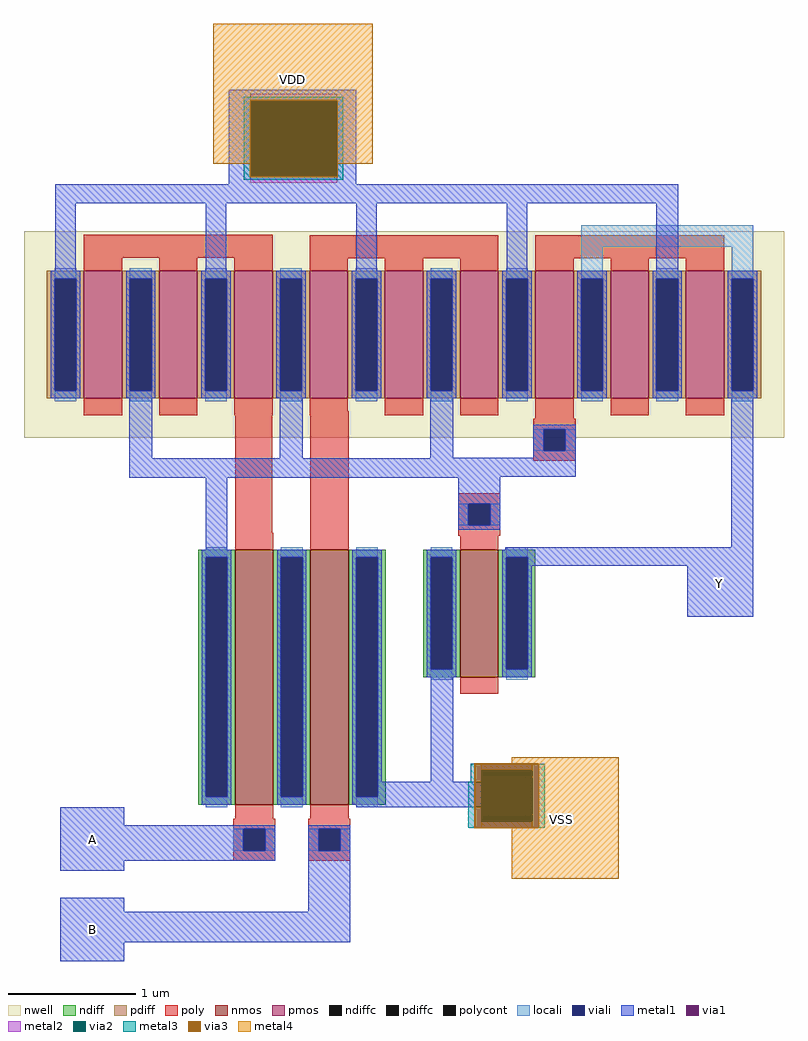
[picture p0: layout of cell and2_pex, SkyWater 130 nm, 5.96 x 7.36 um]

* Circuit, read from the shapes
.subckt and2_pex VSS A B VDD Y
XM1 n1 A n2 VSUBS sky130_fd_pr__nfet_01v8 w=2 l=0.3
XM2 VSS B n1 VSUBS sky130_fd_pr__nfet_01v8 w=2 l=0.3
XM3 Y n2 VSS VSUBS sky130_fd_pr__nfet_01v8 w=1 l=0.3
XM4 n2 A VDD n3 sky130_fd_pr__pfet_01v8 w=1 l=0.3 m=3
XM5 VDD B n2 n3 sky130_fd_pr__pfet_01v8 w=1 l=0.3 m=3
XM6 Y n2 VDD n3 sky130_fd_pr__pfet_01v8 w=1 l=0.3 m=3
.ends

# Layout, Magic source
magic
tech sky130B
magscale 1 2
<< nwell >>
rect 1 6 1193 330
<< nmos >>
rect 332 -569 392 -169
rect 450 -569 510 -169
rect 685 -369 745 -169
<< pmos >>
rect 95 68 155 268
rect 213 68 273 268
rect 331 68 391 268
rect 449 68 509 268
rect 567 68 627 268
rect 685 68 745 268
rect 803 68 863 268
rect 921 68 981 268
rect 1039 68 1099 268
<< ndiff >>
rect 274 -181 332 -169
rect 274 -557 286 -181
rect 320 -557 332 -181
rect 274 -569 332 -557
rect 392 -181 450 -169
rect 392 -557 404 -181
rect 438 -557 450 -181
rect 392 -569 450 -557
rect 510 -181 568 -169
rect 510 -557 522 -181
rect 556 -557 568 -181
rect 627 -181 685 -169
rect 627 -357 639 -181
rect 673 -357 685 -181
rect 627 -369 685 -357
rect 745 -181 803 -169
rect 745 -357 757 -181
rect 791 -357 803 -181
rect 745 -369 803 -357
rect 510 -569 568 -557
<< pdiff >>
rect 37 256 95 268
rect 37 80 49 256
rect 83 80 95 256
rect 37 68 95 80
rect 155 256 213 268
rect 155 80 167 256
rect 201 80 213 256
rect 155 68 213 80
rect 273 256 331 268
rect 273 80 285 256
rect 319 80 331 256
rect 273 68 331 80
rect 391 256 449 268
rect 391 80 403 256
rect 437 80 449 256
rect 391 68 449 80
rect 509 256 567 268
rect 509 80 521 256
rect 555 80 567 256
rect 509 68 567 80
rect 627 256 685 268
rect 627 80 639 256
rect 673 80 685 256
rect 627 68 685 80
rect 745 256 803 268
rect 745 80 757 256
rect 791 80 803 256
rect 745 68 803 80
rect 863 256 921 268
rect 863 80 875 256
rect 909 80 921 256
rect 863 68 921 80
rect 981 256 1039 268
rect 981 80 993 256
rect 1027 80 1039 256
rect 981 68 1039 80
rect 1099 256 1157 268
rect 1099 80 1111 256
rect 1145 80 1157 256
rect 1099 68 1157 80
<< ndiffc >>
rect 286 -557 320 -181
rect 404 -557 438 -181
rect 522 -557 556 -181
rect 639 -357 673 -181
rect 757 -357 791 -181
<< pdiffc >>
rect 49 80 83 256
rect 167 80 201 256
rect 285 80 319 256
rect 403 80 437 256
rect 521 80 555 256
rect 639 80 673 256
rect 757 80 791 256
rect 875 80 909 256
rect 993 80 1027 256
rect 1111 80 1145 256
<< poly >>
rect 95 289 391 325
rect 95 268 155 289
rect 213 268 273 289
rect 331 268 391 289
rect 449 288 745 324
rect 449 268 509 288
rect 567 268 627 288
rect 685 268 745 288
rect 803 288 1099 324
rect 803 268 863 288
rect 921 268 981 288
rect 1039 268 1099 288
rect 95 42 155 68
rect 213 42 273 68
rect 331 42 391 68
rect 449 48 509 68
rect 449 42 510 48
rect 567 42 627 68
rect 685 42 745 68
rect 332 -143 390 42
rect 332 -169 392 -143
rect 450 -169 510 42
rect 803 36 863 68
rect 921 42 981 68
rect 1039 42 1099 68
rect 800 20 866 36
rect 800 -14 816 20
rect 850 -14 866 20
rect 800 -30 866 -14
rect 682 -97 748 -81
rect 682 -131 698 -97
rect 732 -131 748 -97
rect 682 -147 748 -131
rect 685 -169 745 -147
rect 685 -395 745 -369
rect 332 -591 392 -569
rect 450 -591 510 -569
rect 329 -607 395 -591
rect 329 -641 345 -607
rect 379 -641 395 -607
rect 329 -657 395 -641
rect 447 -607 513 -591
rect 447 -641 463 -607
rect 497 -641 513 -607
rect 447 -657 513 -641
<< polycont >>
rect 816 -14 850 20
rect 698 -131 732 -97
rect 345 -641 379 -607
rect 463 -641 497 -607
<< locali >>
rect 875 306 1145 340
rect 49 256 83 272
rect 49 64 83 80
rect 167 256 201 272
rect 167 64 201 80
rect 285 256 319 272
rect 285 64 319 80
rect 403 256 437 272
rect 403 64 437 80
rect 521 256 555 272
rect 521 64 555 80
rect 639 256 673 272
rect 639 64 673 80
rect 757 256 791 272
rect 757 64 791 80
rect 875 256 909 306
rect 875 64 909 80
rect 993 256 1027 272
rect 993 64 1027 80
rect 1111 256 1145 306
rect 1111 64 1145 80
rect 800 -14 816 20
rect 850 -14 866 20
rect 682 -131 698 -97
rect 732 -131 748 -97
rect 286 -181 320 -165
rect 286 -573 320 -557
rect 404 -181 438 -165
rect 404 -573 438 -557
rect 522 -181 556 -165
rect 639 -181 673 -165
rect 639 -373 673 -357
rect 757 -181 791 -165
rect 757 -373 791 -357
rect 522 -573 556 -557
rect 329 -641 345 -607
rect 379 -641 395 -607
rect 447 -641 463 -607
rect 497 -641 513 -607
<< viali >>
rect 49 80 83 256
rect 167 80 201 256
rect 285 80 319 256
rect 403 80 437 256
rect 521 80 555 256
rect 639 80 673 256
rect 757 80 791 256
rect 875 80 909 256
rect 993 80 1027 256
rect 1111 80 1145 256
rect 816 -14 850 20
rect 698 -131 732 -97
rect 286 -557 320 -181
rect 404 -557 438 -181
rect 522 -557 556 -181
rect 639 -357 673 -181
rect 757 -357 791 -181
rect 345 -641 379 -607
rect 463 -641 497 -607
<< metal1 >>
rect 322 536 522 552
rect 322 416 356 536
rect 492 416 522 536
rect 322 404 522 416
rect 50 374 1027 404
rect 50 268 82 374
rect 286 268 318 374
rect 522 268 554 374
rect 758 268 790 374
rect 993 268 1027 374
rect 43 256 89 268
rect 43 80 49 256
rect 83 80 89 256
rect 43 68 89 80
rect 161 256 207 268
rect 161 80 167 256
rect 201 80 207 256
rect 161 68 207 80
rect 279 256 325 268
rect 279 80 285 256
rect 319 80 325 256
rect 279 68 325 80
rect 397 256 443 268
rect 397 80 403 256
rect 437 80 443 256
rect 397 68 443 80
rect 515 256 561 268
rect 515 80 521 256
rect 555 80 561 256
rect 515 68 561 80
rect 633 256 679 268
rect 633 80 639 256
rect 673 80 679 256
rect 633 68 679 80
rect 751 256 797 268
rect 751 80 757 256
rect 791 80 797 256
rect 751 68 797 80
rect 869 256 915 268
rect 869 80 875 256
rect 909 80 915 256
rect 869 68 915 80
rect 987 256 1033 268
rect 987 80 993 256
rect 1027 80 1033 256
rect 987 68 1033 80
rect 1105 256 1151 268
rect 1105 80 1111 256
rect 1145 80 1151 256
rect 1105 68 1151 80
rect 166 -26 202 68
rect 402 -26 438 68
rect 638 -25 674 68
rect 800 20 866 27
rect 800 -14 816 20
rect 850 -14 866 20
rect 800 -25 866 -14
rect 638 -26 866 -25
rect 166 -55 866 -26
rect 166 -56 748 -55
rect 286 -169 320 -56
rect 682 -97 748 -56
rect 682 -131 698 -97
rect 732 -131 748 -97
rect 682 -138 748 -131
rect 1110 -165 1145 68
rect 756 -169 1145 -165
rect 280 -181 326 -169
rect 280 -557 286 -181
rect 320 -557 326 -181
rect 280 -569 326 -557
rect 398 -181 444 -169
rect 398 -557 404 -181
rect 438 -557 444 -181
rect 398 -569 444 -557
rect 516 -181 562 -169
rect 516 -557 522 -181
rect 556 -533 562 -181
rect 633 -181 679 -169
rect 633 -357 639 -181
rect 673 -357 679 -181
rect 633 -369 679 -357
rect 751 -181 1145 -169
rect 751 -357 757 -181
rect 791 -194 1145 -181
rect 791 -357 797 -194
rect 1041 -274 1145 -194
rect 751 -369 797 -357
rect 639 -533 674 -369
rect 718 -533 728 -525
rect 556 -557 728 -533
rect 516 -569 728 -557
rect 522 -573 728 -569
rect 58 -601 158 -573
rect 718 -585 728 -573
rect 788 -585 798 -525
rect 58 -607 395 -601
rect 58 -641 345 -607
rect 379 -641 395 -607
rect 58 -657 395 -641
rect 447 -607 513 -601
rect 447 -641 463 -607
rect 497 -641 513 -607
rect 58 -673 158 -657
rect 58 -737 158 -715
rect 447 -737 513 -641
rect 58 -785 513 -737
rect 58 -815 158 -785
<< via1 >>
rect 356 416 492 536
rect 728 -585 788 -525
<< metal2 >>
rect 356 536 492 546
rect 356 406 492 416
rect 718 -515 798 -505
rect 718 -605 798 -595
<< via2 >>
rect 356 416 492 536
rect 718 -525 798 -515
rect 718 -585 728 -525
rect 728 -585 788 -525
rect 788 -585 798 -525
rect 718 -595 798 -585
<< metal3 >>
rect 346 536 502 541
rect 346 416 356 536
rect 492 416 502 536
rect 346 411 502 416
rect 702 -533 708 -505
rect 698 -605 708 -533
rect 808 -605 818 -505
<< via3 >>
rect 356 416 492 536
rect 708 -515 808 -505
rect 708 -595 718 -515
rect 718 -595 798 -515
rect 798 -595 808 -515
rect 708 -605 808 -595
<< metal4 >>
rect 298 536 548 656
rect 298 436 356 536
rect 355 416 356 436
rect 492 436 548 536
rect 492 416 493 436
rect 355 415 493 416
rect 766 -504 934 -495
rect 707 -505 934 -504
rect 707 -605 708 -505
rect 808 -605 934 -505
rect 707 -606 934 -605
rect 766 -685 934 -606
<< labels >>
flabel metal4 322 498 522 640 1 FreeSans 480 0 0 0 VDD
port 4 n
flabel metal1 58 -815 158 -715 1 FreeSans 480 0 0 0 B
port 3 n
flabel metal1 58 -673 158 -573 1 FreeSans 480 0 0 0 A
port 2 n
flabel metal4 784 -645 904 -541 1 FreeSans 480 0 0 0 VSS
port 1 n
flabel metal1 1047 -264 1137 -179 1 FreeSans 240 0 0 0 Y
port 5 n
<< end >>
